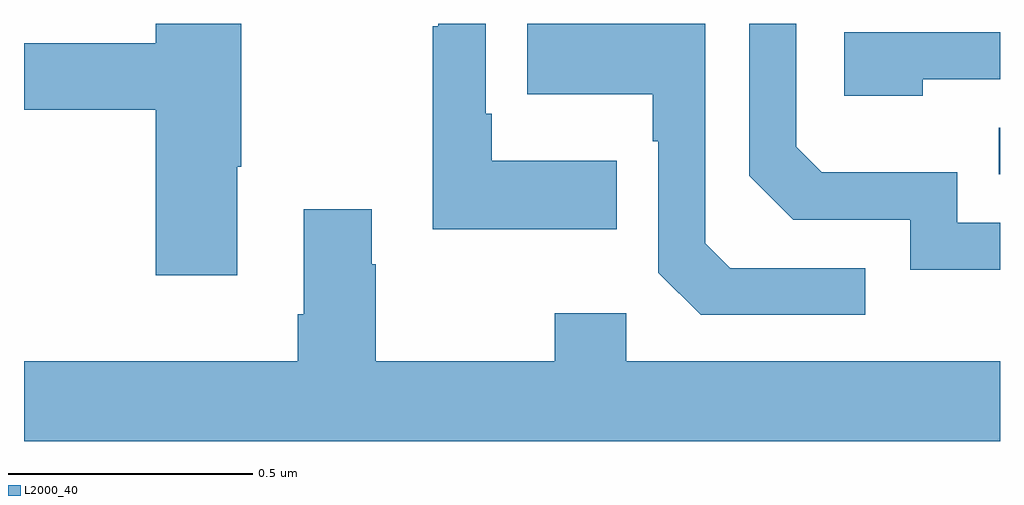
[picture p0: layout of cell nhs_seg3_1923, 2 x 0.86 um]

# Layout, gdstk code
import gdstk
lib = gdstk.Library(unit=1e-6, precision=1e-09)
def R(c, l, rs):  # rectangles x0, y0, x1, y1
    for r in rs: c.add(gdstk.rectangle(r[:2], r[2:], *l))
def P(c, l, *ps):  # polygons
    for p in ps: c.add(gdstk.Polygon(p, *l))
L2000_40 = (2000, 40)

nhs_seg3_1923 = lib.new_cell('nhs_seg3_1923')
R(nhs_seg3_1923, L2000_40, [(135.997,740.091,136,740.187)])
P(nhs_seg3_1923, L2000_40, [(134.437,740.107),(134.445,740.107),(134.445,740.4),(134.27,740.4),(134.27,740.36),(134,740.36),(134,740.224),(134.27,740.224),(134.27,739.884),(134.437,739.884)],
  [(135.724,739.899),(135.447,739.899),(135.396,739.95),(135.396,740.4),(135.031,740.4),(135.031,740.255),(135.288,740.255),(135.288,740.159),(135.3,740.159),(135.3,739.89),(135.387,739.803),(135.724,739.803)],
  [(135.215,740.119),(134.959,740.119),(134.959,740.215),(134.946,740.215),(134.946,740.4),(134.849,740.4),(134.849,740.395),(134.838,740.395),(134.838,739.979),(135.215,739.979)],
  [(136,739.992),(135.912,739.992),(135.912,740.095),(135.635,740.095),(135.582,740.148),(135.582,740.4),(135.486,740.4),(135.486,740.088),(135.576,739.998),(135.816,739.998),(135.816,739.896),(136,739.896)],
  [(135.842,740.286),(136,740.286),(136,740.382),(135.681,740.382),(135.681,740.252),(135.842,740.252)],
  [(136,739.708),(135.234,739.708),(135.234,739.807),(135.088,739.807),(135.088,739.708),(134.721,739.708),(134.721,739.907),(134.713,739.907),(134.713,740.02),(134.573,740.02),(134.573,739.804),(134.561,739.804),(134.561,739.708),(134,739.708),(134,739.544),(136,739.544)])

lib.write_gds('nhs_seg3_1923.gds')
